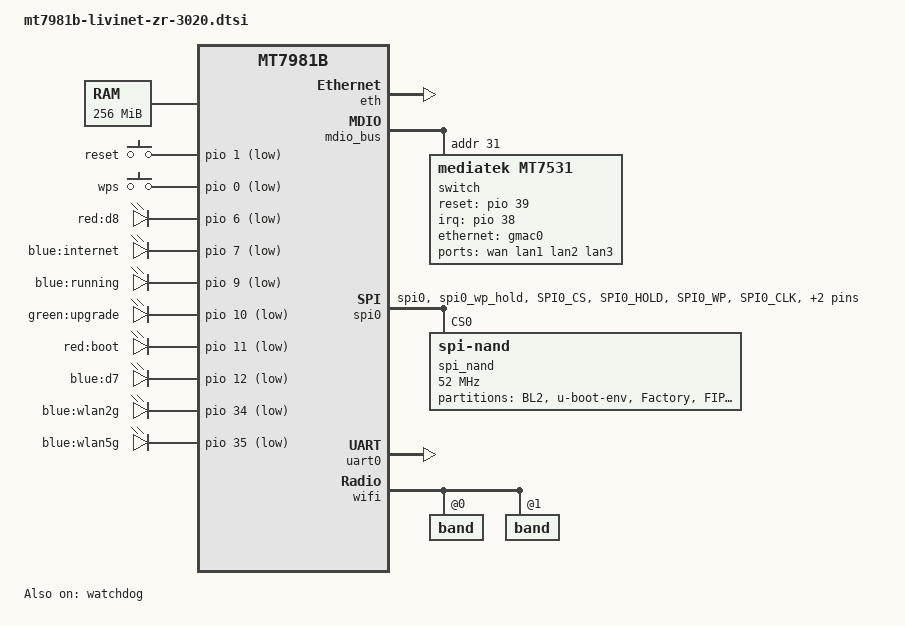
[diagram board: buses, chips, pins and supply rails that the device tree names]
// SPDX-License-Identifier: GPL-2.0-or-later OR MIT
/*
 * Copyright (C) 2023 Tianling Shen <cnsztl@immortalwrt.org>
 */

/dts-v1/;
#include <dt-bindings/gpio/gpio.h>
#include <dt-bindings/input/input.h>
#include "mt7981b.dtsi"

/ {
	aliases {
		led-boot = &boot_led;
		led-failsafe = &boot_led;
		led-running = &running_led;
		led-upgrade = &upgrade_led;
		serial0 = &uart0;
	};

	chosen: chosen {
		stdout-path = "serial0:115200n8";
	};

	memory@40000000 {
		reg = <0 0x40000000 0 0x10000000>;
		device_type = "memory";
	};

	gpio-keys {
		compatible = "gpio-keys";

		button-reset {
			label = "reset";
			linux,code = <KEY_RESTART>;
			gpios = <&pio 1 GPIO_ACTIVE_LOW>;
		};

		button-wps {
			label = "wps";
			linux,code = <KEY_WPS_BUTTON>;
			gpios = <&pio 0 GPIO_ACTIVE_LOW>;
		};
	};

	gpio-leds {
		compatible = "gpio-leds";

		led-0 {
			label = "red:d8";
			gpios = <&pio 6 GPIO_ACTIVE_LOW>;
		};

		led-1 {
			label = "blue:internet";
			gpios = <&pio 7 GPIO_ACTIVE_LOW>;
		};

		running_led: led-2 {
			label = "blue:running";
			gpios = <&pio 9 GPIO_ACTIVE_LOW>;
		};

		upgrade_led: led-3 {
			label = "green:upgrade";
			gpios = <&pio 10 GPIO_ACTIVE_LOW>;
		};

		boot_led: led-4 {
			label = "red:boot";
			gpios = <&pio 11 GPIO_ACTIVE_LOW>;
		};

		led-5 {
			label = "blue:d7";
			gpios = <&pio 12 GPIO_ACTIVE_LOW>;
		};

		led-6 {
			label = "blue:wlan2g";
			gpios = <&pio 34 GPIO_ACTIVE_LOW>;
		};

		led-7 {
			label = "blue:wlan5g";
			gpios = <&pio 35 GPIO_ACTIVE_LOW>;
		};
	};
};

&eth {
	status = "okay";

	gmac0: mac@0 {
		compatible = "mediatek,eth-mac";
		reg = <0>;
		phy-mode = "2500base-x";

		nvmem-cells = <&macaddr_config_50707 0>;
		nvmem-cell-names = "mac-address";

		fixed-link {
			speed = <2500>;
			full-duplex;
			pause;
		};
	};
};

&mdio_bus {
	switch: switch@1f {
		compatible = "mediatek,mt7531";
		reg = <31>;
		reset-gpios = <&pio 39 GPIO_ACTIVE_HIGH>;
		interrupt-controller;
		#interrupt-cells = <1>;
		interrupt-parent = <&pio>;
		interrupts = <38 IRQ_TYPE_LEVEL_HIGH>;
	};
};

&spi0 {
	pinctrl-names = "default";
	pinctrl-0 = <&spi0_flash_pins>;
	status = "okay";

	spi_nand: flash@0 {
		compatible = "spi-nand";
		reg = <0>;

		spi-max-frequency = <52000000>;
		spi-tx-bus-width = <4>;
		spi-rx-bus-width = <4>;

		partitions: partitions {
			compatible = "fixed-partitions";
			#address-cells = <1>;
			#size-cells = <1>;

			partition@0 {
				label = "BL2";
				reg = <0x0 0x100000>;
				read-only;
			};

			partition@100000 {
				label = "u-boot-env";
				reg = <0x100000 0x80000>;
			};

			partition@180000 {
				label = "Factory";
				reg = <0x180000 0x200000>;
				read-only;

				nvmem-layout {
					compatible = "fixed-layout";
					#address-cells = <1>;
					#size-cells = <1>;

					eeprom_factory_0: eeprom@0 {
						reg = <0x0 0x1000>;
					};
				};
			};

			partition@380000 {
				label = "FIP";
				reg = <0x380000 0x200000>;
				read-only;
			};

			partition@6580000 {
				label = "zrsave";
				reg = <0x6580000 0x100000>;
			};

			partition@6680000 {
				label = "config2";
				reg = <0x6680000 0x100000>;
				read-only;

				nvmem-layout {
					compatible = "fixed-layout";
					#address-cells = <1>;
					#size-cells = <1>;

					macaddr_config_5060a: macaddr@5060a {
						compatible = "mac-base";
						reg = <0x5060a 0x11>;
						#nvmem-cell-cells = <1>;
					};

					macaddr_config_5068a: macaddr@5068a {
						compatible = "mac-base";
						reg = <0x5068a 0x11>;
						#nvmem-cell-cells = <1>;
					};

					macaddr_config_50707: macaddr@50707 {
						compatible = "mac-base";
						reg = <0x50707 0x11>;
						#nvmem-cell-cells = <1>;
					};

					macaddr_config_50787: macaddr@50787 {
						compatible = "mac-base";
						reg = <0x50787 0x11>;
						#nvmem-cell-cells = <1>;
					};
				};
			};
		};
	};
};

&switch {
	ports {
		#address-cells = <1>;
		#size-cells = <0>;

		port@0 {
			reg = <0>;
			label = "wan";

			nvmem-cells = <&macaddr_config_50787 0>;
			nvmem-cell-names = "mac-address";
		};

		port@2 {
			reg = <2>;
			label = "lan1";
		};

		port@3 {
			reg = <3>;
			label = "lan2";
		};

		port@4 {
			reg = <4>;
			label = "lan3";
		};

		port@6 {
			reg = <6>;
			ethernet = <&gmac0>;
			phy-mode = "2500base-x";

			fixed-link {
				speed = <2500>;
				full-duplex;
				pause;
			};
		};
	};
};

&pio {
	spi0_flash_pins: spi0-pins {
		mux {
			function = "spi";
			groups = "spi0", "spi0_wp_hold";
		};

		conf-pu {
			pins = "SPI0_CS", "SPI0_HOLD", "SPI0_WP";
			drive-strength = <MTK_DRIVE_8mA>;
			bias-pull-up = <MTK_PUPD_SET_R1R0_11>;
		};

		conf-pd {
			pins = "SPI0_CLK", "SPI0_MOSI", "SPI0_MISO";
			drive-strength = <MTK_DRIVE_8mA>;
			bias-pull-down = <MTK_PUPD_SET_R1R0_11>;
		};
	};
};

&uart0 {
	status = "okay";
};

&watchdog {
	status = "okay";
};

&wifi {
	#address-cells = <1>;
	#size-cells = <0>;
	nvmem-cells = <&eeprom_factory_0>;
	nvmem-cell-names = "eeprom";
	status = "okay";

	band@0 {
		reg = <0>;
		nvmem-cells = <&macaddr_config_5068a 0>;
		nvmem-cell-names = "mac-address";

	};

	band@1 {
		reg = <1>;
		nvmem-cells = <&macaddr_config_5060a 0>;
		nvmem-cell-names = "mac-address";
	};
};
